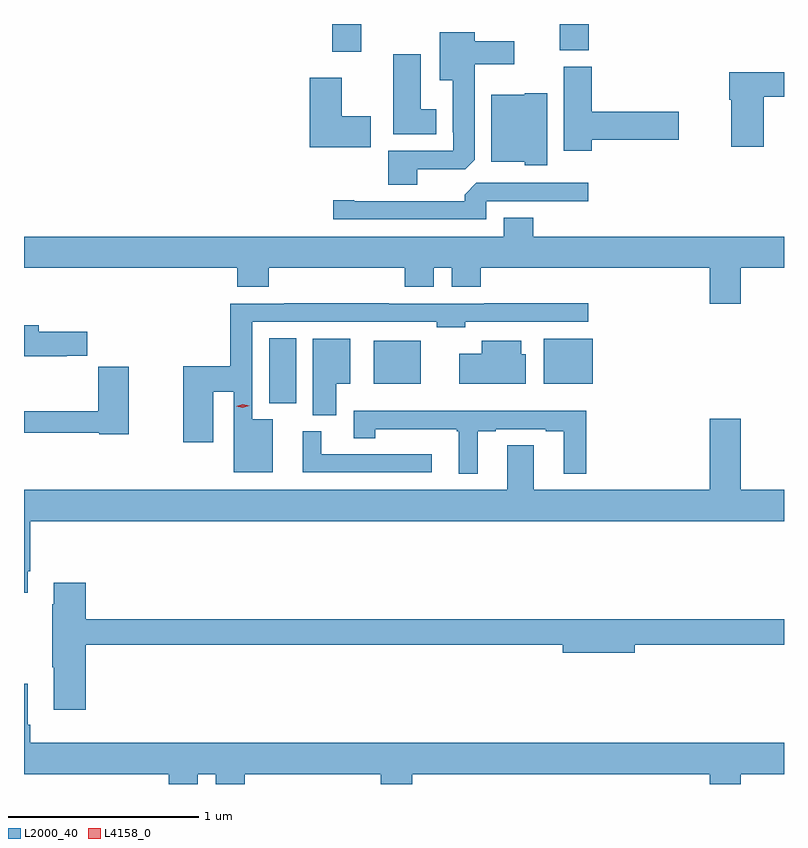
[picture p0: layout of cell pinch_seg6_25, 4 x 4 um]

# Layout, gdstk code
import gdstk
lib = gdstk.Library(unit=1e-6, precision=1e-09)
def R(c, l, rs):  # rectangles x0, y0, x1, y1
    for r in rs: c.add(gdstk.rectangle(r[:2], r[2:], *l))
def P(c, l, *ps):  # polygons
    for p in ps: c.add(gdstk.Polygon(p, *l))
L2000_40 = (2000, 40)
L4158_0 = (4158, 0)

pinch_seg6_25 = lib.new_cell('pinch_seg6_25')
R(pinch_seg6_25, L2000_40, [(953.897,959.945,954.04,960.287), (954.449,960.047,954.694,960.274), (955.343,960.047,955.6,960.283), (954.23,961.794,954.382,961.94), (955.427,961.801,955.58,961.94)])
P(pinch_seg6_25, L2000_40, [(954.676,961.176),(954.93,961.176),(954.979,961.225),(954.979,961.727),(955.186,961.727),(955.186,961.849),(954.979,961.849),(954.979,961.897),(954.794,961.897),(954.794,961.643),(954.863,961.643),(954.863,961.369),(954.867,961.369),(954.867,961.272),(954.524,961.272),(954.524,961.093),(954.676,961.093)],
  [(954.778,961.492),(954.694,961.492),(954.694,961.78),(954.551,961.78),(954.551,961.361),(954.778,961.361)],
  [(955.595,961.331),(956.053,961.331),(956.053,961.478),(955.595,961.478),(955.595,961.716),(955.448,961.716),(955.448,961.272),(955.595,961.272)],
  [(956.501,961.558),(956.607,961.558),(956.607,961.687),(956.318,961.687),(956.318,961.541),(956.33,961.541),(956.33,961.293),(956.501,961.293)],
  [(954.433,961.455),(954.28,961.455),(954.28,961.657),(954.11,961.657),(954.11,961.292),(954.433,961.292)],
  [(955.36,961.576),(955.242,961.576),(955.242,961.567),(955.067,961.567),(955.067,961.214),(955.242,961.214),(955.242,961.196),(955.36,961.196)],
  [(955.041,961.008),(955.576,961.008),(955.576,961.104),(954.987,961.104),(954.926,961.042),(954.926,961.008),(954.346,961.008),(954.346,961.013),(954.234,961.013),(954.234,960.912),(955.041,960.912)],
  [(952.607,960.656),(953.729,960.656),(953.729,960.557),(953.894,960.557),(953.894,960.656),(954.611,960.656),(954.611,960.557),(954.763,960.557),(954.763,960.656),(954.857,960.656),(954.857,960.557),(955.01,960.557),(955.01,960.656),(956.216,960.656),(956.216,960.468),(956.38,960.468),(956.38,960.656),(956.607,960.656),(956.607,960.82),(955.286,960.82),(955.286,960.919),(955.133,960.919),(955.133,960.82),(952.607,960.82)],
  [(953.917,959.86),(953.808,959.86),(953.808,960.372),(954.78,960.372),(954.78,960.344),(954.93,960.344),(954.93,960.372),(955.576,960.372),(955.576,960.47),(955.03,960.47),(955.03,960.468),(954.527,960.468),(954.527,960.47),(953.977,960.47),(953.977,960.468),(953.692,960.468),(953.692,960.14),(953.444,960.14),(953.444,959.739),(953.602,959.739),(953.602,960.004),(953.712,960.004),(953.712,959.582),(953.917,959.582)],
  [(952.832,960.195),(952.94,960.195),(952.94,960.321),(952.684,960.321),(952.684,960.355),(952.607,960.355),(952.607,960.191),(952.832,960.191)],
  [(954.25,960.047),(954.325,960.047),(954.325,960.283),(954.128,960.283),(954.128,959.881),(954.25,959.881)],
  [(955.249,960.201),(955.225,960.201),(955.225,960.274),(955.016,960.274),(955.016,960.205),(954.897,960.205),(954.897,960.047),(955.249,960.047)],
  [(953.158,960.137),(952.997,960.137),(952.997,959.903),(952.607,959.903),(952.607,959.79),(953.004,959.79),(953.004,959.782),(953.158,959.782)],
  [(954.994,959.796),(955.09,959.796),(955.09,959.808),(955.352,959.808),(955.352,959.796),(955.448,959.796),(955.448,959.573),(955.565,959.573),(955.565,959.905),(954.342,959.905),(954.342,959.761),(954.455,959.761),(954.455,959.807),(954.885,959.807),(954.885,959.796),(954.896,959.796),(954.896,959.573),(954.994,959.573)],
  [(952.627,959.059),(952.64,959.059),(952.64,959.324),(956.607,959.324),(956.607,959.488),(956.38,959.488),(956.38,959.863),(956.216,959.863),(956.216,959.488),(955.291,959.488),(955.291,959.723),(955.151,959.723),(955.151,959.488),(952.607,959.488),(952.607,958.947),(952.627,958.947)],
  [(954.754,959.676),(954.172,959.676),(954.172,959.796),(954.074,959.796),(954.074,959.58),(954.754,959.58)],
  [(952.931,958.672),(955.442,958.672),(955.442,958.63),(955.822,958.63),(955.822,958.672),(956.607,958.672),(956.607,958.808),(952.931,958.808),(952.931,958.999),(952.763,958.999),(952.763,958.886),(952.756,958.886),(952.756,958.555),(952.763,958.555),(952.763,958.332),(952.931,958.332)],
  [(953.521,957.992),(953.615,957.992),(953.615,957.94),(953.768,957.94),(953.768,957.992),(954.485,957.992),(954.485,957.94),(954.65,957.94),(954.65,957.992),(956.216,957.992),(956.216,957.94),(956.38,957.94),(956.38,957.992),(956.607,957.992),(956.607,958.156),(952.64,958.156),(952.64,958.252),(952.627,958.252),(952.627,958.468),(952.607,958.468),(952.607,957.992),(953.369,957.992),(953.369,957.94),(953.521,957.94)])
P(pinch_seg6_25, L4158_0, [(953.759,959.92),(953.725,959.928),(953.725,959.928),(953.725,959.928),(953.758,959.94),(953.792,959.932),(953.792,959.932),(953.792,959.932)])

lib.write_gds('pinch_seg6_25.gds')
